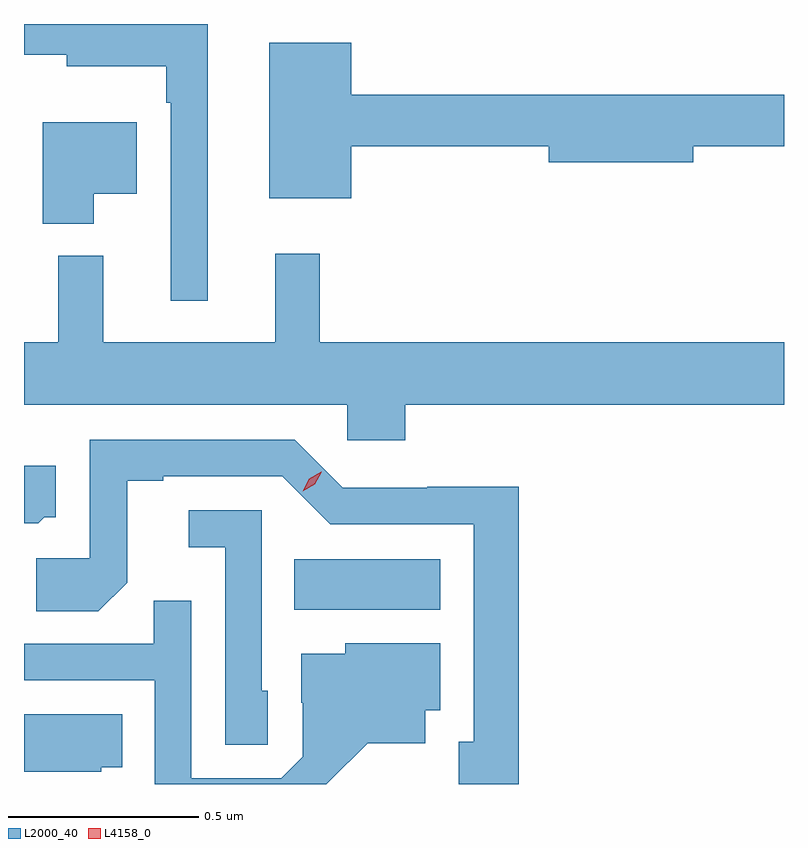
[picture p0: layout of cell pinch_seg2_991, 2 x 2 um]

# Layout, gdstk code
import gdstk
lib = gdstk.Library(unit=1e-6, precision=1e-09)
def R(c, l, rs):  # rectangles x0, y0, x1, y1
    for r in rs: c.add(gdstk.rectangle(r[:2], r[2:], *l))
def P(c, l, *ps):  # polygons
    for p in ps: c.add(gdstk.Polygon(p, *l))
L2000_40 = (2000, 40)
L4158_0 = (4158, 0)

pinch_seg2_991 = lib.new_cell('pinch_seg2_991')
R(pinch_seg2_991, L2000_40, [(328.066,635.108,328.45,635.242)])
P(pinch_seg2_991, L2000_40, [(327.838,636.65),(327.355,636.65),(327.355,636.569),(327.467,636.569),(327.467,636.539),(327.729,636.539),(327.729,636.443),(327.741,636.443),(327.741,635.922),(327.838,635.922)],
  [(328.216,636.328),(328.736,636.328),(328.736,636.286),(329.116,636.286),(329.116,636.328),(329.355,636.328),(329.355,636.464),(328.216,636.464),(328.216,636.601),(328.001,636.601),(328.001,636.191),(328.216,636.191)],
  [(327.538,636.203),(327.652,636.203),(327.652,636.391),(327.404,636.391),(327.404,636.125),(327.538,636.125)],
  [(328.358,635.648),(329.355,635.648),(329.355,635.812),(328.133,635.812),(328.133,636.046),(328.016,636.046),(328.016,635.812),(327.563,635.812),(327.563,636.04),(327.445,636.04),(327.445,635.812),(327.355,635.812),(327.355,635.648),(328.206,635.648),(328.206,635.555),(328.358,635.555)],
  [(328.657,635.432),(328.416,635.432),(328.416,635.43),(328.194,635.43),(328.068,635.556),(327.528,635.556),(327.528,635.244),(327.387,635.244),(327.387,635.104),(327.551,635.104),(327.627,635.18),(327.627,635.448),(327.721,635.448),(327.721,635.46),(328.035,635.46),(328.161,635.334),(328.538,635.334),(328.538,634.761),(328.499,634.761),(328.499,634.65),(328.657,634.65)],
  [(327.408,635.352),(327.439,635.352),(327.439,635.488),(327.355,635.488),(327.355,635.336),(327.392,635.336)],
  [(327.996,634.896),(327.981,634.896),(327.981,635.37),(327.789,635.37),(327.789,635.273),(327.885,635.273),(327.885,634.753),(327.996,634.753)],
  [(328.156,634.655),(328.259,634.757),(328.411,634.757),(328.411,634.844),(328.45,634.844),(328.45,635.02),(328.2,635.02),(328.2,634.993),(328.085,634.993),(328.085,634.864),(328.089,634.864),(328.089,634.722),(328.032,634.665),(327.795,634.665),(327.795,635.132),(327.697,635.132),(327.697,635.019),(327.355,635.019),(327.355,634.923),(327.699,634.923),(327.699,634.65),(328.151,634.65)],
  [(327.558,634.694),(327.614,634.694),(327.614,634.834),(327.355,634.834),(327.355,634.682),(327.558,634.682)])
P(pinch_seg2_991, L4158_0, [(328.088,635.42),(328.088,635.42),(328.106,635.453),(328.137,635.472),(328.138,635.472),(328.138,635.472),(328.12,635.439),(328.088,635.42)])

lib.write_gds('pinch_seg2_991.gds')
